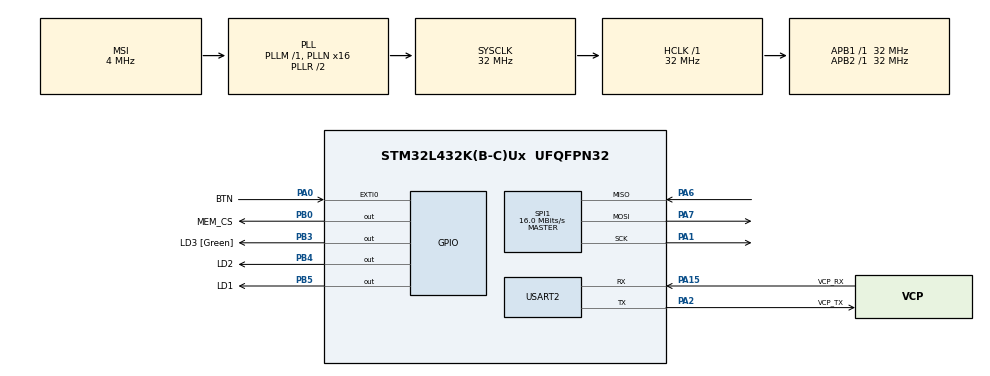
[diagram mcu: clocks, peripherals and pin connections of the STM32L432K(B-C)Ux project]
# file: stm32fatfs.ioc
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FATFS._MAX_SS=4096
FATFS._MIN_SS=4096
Mcu.Family=STM32L4
Mcu.Name=STM32L432K(B-C)Ux
Mcu.Package=UFQFPN32
NVIC.EXTI0_IRQn=true\:0\:0\:false\:false\:true\:true
NVIC.PriorityGroup=NVIC_PRIORITYGROUP_4
PA0.GPIO_Label=BTN
PA0.GPIO_ModeDefaultEXTI=GPIO_MODE_IT_FALLING
PA0.GPIO_PuPd=GPIO_PULLUP
PA0.Signal=GPXTI0
PA1.Mode=Full_Duplex_Master
PA1.Signal=SPI1_SCK
PA13\ (JTMS-SWDIO).GPIO_Label=SWDIO
PA13\ (JTMS-SWDIO).Mode=Serial_Wire
PA13\ (JTMS-SWDIO).Signal=SYS_JTMS-SWDIO
PA14\ (JTCK-SWCLK).GPIO_Label=SWCLK
PA14\ (JTCK-SWCLK).Mode=Serial_Wire
PA14\ (JTCK-SWCLK).Signal=SYS_JTCK-SWCLK
PA15\ (JTDI).GPIO_Label=VCP_RX
PA15\ (JTDI).Mode=Asynchronous
PA15\ (JTDI).Signal=USART2_RX
PA2.GPIO_Label=VCP_TX
PA2.Mode=Asynchronous
PA2.Signal=USART2_TX
PA6.Mode=Full_Duplex_Master
PA6.Signal=SPI1_MISO
PA7.Mode=Full_Duplex_Master
PA7.Signal=SPI1_MOSI
PB0.GPIO_Label=MEM_CS
PB0.GPIO_Speed=GPIO_SPEED_FREQ_HIGH
PB0.PinState=GPIO_PIN_SET
PB0.Signal=GPIO_Output
PB3\ (JTDO-TRACESWO).GPIO_Label=LD3 [Green]
PB3\ (JTDO-TRACESWO).Signal=GPIO_Output
PB4\ (NJTRST).GPIO_Label=LD2
PB4\ (NJTRST).Signal=GPIO_Output
PB5.GPIO_Label=LD1
PB5.Signal=GPIO_Output
PC14-OSC32_IN\ (PC14).Mode=LSE-External-Oscillator
PC14-OSC32_IN\ (PC14).Signal=RCC_OSC32_IN
PC15-OSC32_OUT\ (PC15).Mode=LSE-External-Oscillator
PC15-OSC32_OUT\ (PC15).Signal=RCC_OSC32_OUT
ProjectManager.HeapSize=0x200
ProjectManager.StackSize=0x400
ProjectManager.TargetToolchain=Makefile
RCC.ADCFreq_Value=48000000
RCC.AHBFreq_Value=32000000
RCC.APB1Freq_Value=32000000
RCC.APB1TimFreq_Value=32000000
RCC.APB2Freq_Value=32000000
RCC.APB2TimFreq_Value=32000000
RCC.CK48CLockSelection=RCC_USBCLKSOURCE_HSI48
RCC.CortexFreq_Value=32000000
RCC.HCLKFreq_Value=32000000
RCC.HSE_VALUE=8000000
RCC.HSI16_VALUE=16000000
RCC.HSI48_VALUE=48000000
RCC.HSI_VALUE=16000000
RCC.MSI_VALUE=4000000
RCC.PLLMUL=RCC_PLLMUL_4
RCC.PLLN=16
RCC.PLLSAI1N=24
RCC.SYSCLKFreq_VALUE=32000000
RCC.SYSCLKSource=RCC_SYSCLKSOURCE_PLLCLK
RCC.USBFreq_Value=48000000
RCC.VCOOutputFreq_Value=64000000
SPI1.BaudRatePrescaler=SPI_BAUDRATEPRESCALER_2
SPI1.CalculateBaudRate=16.0 MBits/s
SPI1.DataSize=SPI_DATASIZE_8BIT
SPI1.Direction=SPI_DIRECTION_2LINES
SPI1.Mode=SPI_MODE_MASTER
SPI1.NSSPMode=SPI_NSS_PULSE_DISABLE
SPI1.VirtualType=VM_MASTER
TIM6.Period=1000
TIM6.TIM_MasterOutputTrigger=TIM_TRGO_UPDATE
USART2.VirtualMode-Asynchronous=VM_ASYNC
VP_FATFS_VS_Generic.Mode=User_defined
VP_TIM6_VS_ClockSourceINT.Mode=Enable_Timer
board=NUCLEO-L432KC

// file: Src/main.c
/**
  ******************************************************************************
  * @file           : main.c
  * @brief          : Main program body
  ******************************************************************************
  * This notice applies to any and all portions of this file
  * that are not between comment pairs USER CODE BEGIN and
  * USER CODE END. Other portions of this file, whether
  * inserted by the user or by software development tools
  * are owned by their respective copyright owners.
  *
  * Copyright (c) 2018 STMicroelectronics International N.V.
  * All rights reserved.
  *
  * Redistribution and use in source and binary forms, with or without
  * modification, are permitted, provided that the following conditions are met:
  *
  * 1. Redistribution of source code must retain the above copyright notice,
  *    this list of conditions and the following disclaimer.
  * 2. Redistributions in binary form must reproduce the above copyright notice,
  *    this list of conditions and the following disclaimer in the documentation
  *    and/or other materials provided with the distribution.
  * 3. Neither the name of STMicroelectronics nor the names of other
  *    contributors to this software may be used to endorse or promote products
  *    derived from this software without specific written permission.
  * 4. This software, including modifications and/or derivative works of this
  *    software, must execute solely and exclusively on microcontroller or
  *    microprocessor devices manufactured by or for STMicroelectronics.
  * 5. Redistribution and use of this software other than as permitted under
  *    this license is void and will automatically terminate your rights under
  *    this license.
  *
  * THIS SOFTWARE IS PROVIDED BY STMICROELECTRONICS AND CONTRIBUTORS "AS IS"
  * AND ANY EXPRESS, IMPLIED OR STATUTORY WARRANTIES, INCLUDING, BUT NOT
  * LIMITED TO, THE IMPLIED WARRANTIES OF MERCHANTABILITY, FITNESS FOR A
  * PARTICULAR PURPOSE AND NON-INFRINGEMENT OF THIRD PARTY INTELLECTUAL PROPERTY
  * RIGHTS ARE DISCLAIMED TO THE FULLEST EXTENT PERMITTED BY LAW. IN NO EVENT
  * SHALL STMICROELECTRONICS OR CONTRIBUTORS BE LIABLE FOR ANY DIRECT, INDIRECT,
  * INCIDENTAL, SPECIAL, EXEMPLARY, OR CONSEQUENTIAL DAMAGES (INCLUDING, BUT NOT
  * LIMITED TO, PROCUREMENT OF SUBSTITUTE GOODS OR SERVICES; LOSS OF USE, DATA,
  * OR PROFITS; OR BUSINESS INTERRUPTION) HOWEVER CAUSED AND ON ANY THEORY OF
  * LIABILITY, WHETHER IN CONTRACT, STRICT LIABILITY, OR TORT (INCLUDING
  * NEGLIGENCE OR OTHERWISE) ARISING IN ANY WAY OUT OF THE USE OF THIS SOFTWARE,
  * EVEN IF ADVISED OF THE POSSIBILITY OF SUCH DAMAGE.
  *
  ******************************************************************************
  */
#include "main.h"
#include "stm32l4xx_hal.h"
#include "fatfs.h"

/* USER CODE BEGIN Includes */
#include "board.h"
#include "SFlash.h"
/* USER CODE END Includes */

SPI_HandleTypeDef hspi1;

TIM_HandleTypeDef htim6;

UART_HandleTypeDef huart2;

/* USER CODE BEGIN PV */
/* Private variables ---------------------------------------------------------*/
#define BTN_DEB_DELAY		(300)

bool btn_int_flag = false;
int btn_deb_counter = 0;
/* USER CODE END PV */

void SystemClock_Config(void);
static void MX_GPIO_Init(void);
static void MX_USART2_UART_Init(void);
static void MX_SPI1_Init(void);
static void MX_TIM6_Init(void);

/* USER CODE BEGIN PFP */
/* Private function prototypes -----------------------------------------------*/
void System_Init(void);
void Event_Handler(void);
/* USER CODE END PFP */

int main(void)
{

  /* MCU Configuration----------------------------------------------------------*/

  /* Reset of all peripherals, Initializes the Flash interface and the Systick. */
  HAL_Init();

  /* Configure the system clock */
  SystemClock_Config();

  /* Initialize all configured peripherals */
  MX_GPIO_Init();
  MX_USART2_UART_Init();
  MX_SPI1_Init();
  MX_TIM6_Init();
  MX_FATFS_Init();
  /* USER CODE BEGIN 2 */
	System_Init();
  /* USER CODE END 2 */

  /* Infinite loop */
	while (1)
	{

  /* USER CODE BEGIN 3 */
		Event_Handler();
	}
  /* USER CODE END 3 */

}

void SystemClock_Config(void)
{

  RCC_OscInitTypeDef RCC_OscInitStruct;
  RCC_ClkInitTypeDef RCC_ClkInitStruct;
  RCC_PeriphCLKInitTypeDef PeriphClkInit;

    /**Configure LSE Drive Capability
    */
  HAL_PWR_EnableBkUpAccess();

  __HAL_RCC_LSEDRIVE_CONFIG(RCC_LSEDRIVE_LOW);

    /**Initializes the CPU, AHB and APB busses clocks
    */
  RCC_OscInitStruct.OscillatorType = RCC_OSCILLATORTYPE_LSE|RCC_OSCILLATORTYPE_MSI;
  RCC_OscInitStruct.LSEState = RCC_LSE_ON;
  RCC_OscInitStruct.MSIState = RCC_MSI_ON;
  RCC_OscInitStruct.MSICalibrationValue = 0;
  RCC_OscInitStruct.MSIClockRange = RCC_MSIRANGE_6;
  RCC_OscInitStruct.PLL.PLLState = RCC_PLL_ON;
  RCC_OscInitStruct.PLL.PLLSource = RCC_PLLSOURCE_MSI;
  RCC_OscInitStruct.PLL.PLLM = 1;
  RCC_OscInitStruct.PLL.PLLN = 16;
  RCC_OscInitStruct.PLL.PLLP = RCC_PLLP_DIV7;
  RCC_OscInitStruct.PLL.PLLQ = RCC_PLLQ_DIV2;
  RCC_OscInitStruct.PLL.PLLR = RCC_PLLR_DIV2;
  if (HAL_RCC_OscConfig(&RCC_OscInitStruct) != HAL_OK)
  {
    _Error_Handler(__FILE__, __LINE__);
  }

    /**Initializes the CPU, AHB and APB busses clocks
    */
  RCC_ClkInitStruct.ClockType = RCC_CLOCKTYPE_HCLK|RCC_CLOCKTYPE_SYSCLK
                              |RCC_CLOCKTYPE_PCLK1|RCC_CLOCKTYPE_PCLK2;
  RCC_ClkInitStruct.SYSCLKSource = RCC_SYSCLKSOURCE_PLLCLK;
  RCC_ClkInitStruct.AHBCLKDivider = RCC_SYSCLK_DIV1;
  RCC_ClkInitStruct.APB1CLKDivider = RCC_HCLK_DIV1;
  RCC_ClkInitStruct.APB2CLKDivider = RCC_HCLK_DIV1;

  if (HAL_RCC_ClockConfig(&RCC_ClkInitStruct, FLASH_LATENCY_1) != HAL_OK)
  {
    _Error_Handler(__FILE__, __LINE__);
  }

  PeriphClkInit.PeriphClockSelection = RCC_PERIPHCLK_USART2;
  PeriphClkInit.Usart2ClockSelection = RCC_USART2CLKSOURCE_PCLK1;
  if (HAL_RCCEx_PeriphCLKConfig(&PeriphClkInit) != HAL_OK)
  {
    _Error_Handler(__FILE__, __LINE__);
  }

    /**Configure the main internal regulator output voltage
    */
  if (HAL_PWREx_ControlVoltageScaling(PWR_REGULATOR_VOLTAGE_SCALE1) != HAL_OK)
  {
    _Error_Handler(__FILE__, __LINE__);
  }

    /**Configure the Systick interrupt time
    */
  HAL_SYSTICK_Config(HAL_RCC_GetHCLKFreq()/1000);

    /**Configure the Systick
    */
  HAL_SYSTICK_CLKSourceConfig(SYSTICK_CLKSOURCE_HCLK);

    /**Enable MSI Auto calibration
    */
  HAL_RCCEx_EnableMSIPLLMode();

  /* SysTick_IRQn interrupt configuration */
  HAL_NVIC_SetPriority(SysTick_IRQn, 0, 0);
}

/* SPI1 init function */
static void MX_SPI1_Init(void)
{

  /* SPI1 parameter configuration*/
  hspi1.Instance = SPI1;
  hspi1.Init.Mode = SPI_MODE_MASTER;
  hspi1.Init.Direction = SPI_DIRECTION_2LINES;
  hspi1.Init.DataSize = SPI_DATASIZE_8BIT;
  hspi1.Init.CLKPolarity = SPI_POLARITY_LOW;
  hspi1.Init.CLKPhase = SPI_PHASE_1EDGE;
  hspi1.Init.NSS = SPI_NSS_SOFT;
  hspi1.Init.BaudRatePrescaler = SPI_BAUDRATEPRESCALER_2;
  hspi1.Init.FirstBit = SPI_FIRSTBIT_MSB;
  hspi1.Init.TIMode = SPI_TIMODE_DISABLE;
  hspi1.Init.CRCCalculation = SPI_CRCCALCULATION_DISABLE;
  hspi1.Init.CRCPolynomial = 7;
  hspi1.Init.CRCLength = SPI_CRC_LENGTH_DATASIZE;
  hspi1.Init.NSSPMode = SPI_NSS_PULSE_DISABLE;
  if (HAL_SPI_Init(&hspi1) != HAL_OK)
  {
    _Error_Handler(__FILE__, __LINE__);
  }

}

/* TIM6 init function */
static void MX_TIM6_Init(void)
{

  TIM_MasterConfigTypeDef sMasterConfig;

  htim6.Instance = TIM6;
  htim6.Init.Prescaler = 0;
  htim6.Init.CounterMode = TIM_COUNTERMODE_UP;
  htim6.Init.Period = 1000;
  htim6.Init.AutoReloadPreload = TIM_AUTORELOAD_PRELOAD_DISABLE;
  if (HAL_TIM_Base_Init(&htim6) != HAL_OK)
  {
    _Error_Handler(__FILE__, __LINE__);
  }

  sMasterConfig.MasterOutputTrigger = TIM_TRGO_UPDATE;
  sMasterConfig.MasterSlaveMode = TIM_MASTERSLAVEMODE_DISABLE;
  if (HAL_TIMEx_MasterConfigSynchronization(&htim6, &sMasterConfig) != HAL_OK)
  {
    _Error_Handler(__FILE__, __LINE__);
  }

}

/* USART2 init function */
static void MX_USART2_UART_Init(void)
{

  huart2.Instance = USART2;
  huart2.Init.BaudRate = 115200;
  huart2.Init.WordLength = UART_WORDLENGTH_8B;
  huart2.Init.StopBits = UART_STOPBITS_1;
  huart2.Init.Parity = UART_PARITY_NONE;
  huart2.Init.Mode = UART_MODE_TX_RX;
  huart2.Init.HwFlowCtl = UART_HWCONTROL_NONE;
  huart2.Init.OverSampling = UART_OVERSAMPLING_16;
  huart2.Init.OneBitSampling = UART_ONE_BIT_SAMPLE_DISABLE;
  huart2.AdvancedInit.AdvFeatureInit = UART_ADVFEATURE_NO_INIT;
  if (HAL_UART_Init(&huart2) != HAL_OK)
  {
    _Error_Handler(__FILE__, __LINE__);
  }

}

/** Configure pins as
        * Analog
        * Input
        * Output
        * EVENT_OUT
        * EXTI
*/
static void MX_GPIO_Init(void)
{

  GPIO_InitTypeDef GPIO_InitStruct;

  /* GPIO Ports Clock Enable */
  __HAL_RCC_GPIOC_CLK_ENABLE();
  __HAL_RCC_GPIOA_CLK_ENABLE();
  __HAL_RCC_GPIOB_CLK_ENABLE();

  /*Configure GPIO pin Output Level */
  HAL_GPIO_WritePin(MEM_CS_GPIO_Port, MEM_CS_Pin, GPIO_PIN_SET);

  /*Configure GPIO pin Output Level */
  HAL_GPIO_WritePin(GPIOB, LD3_Pin|LD2_Pin|LD1_Pin, GPIO_PIN_RESET);

  /*Configure GPIO pin : BTN_Pin */
  GPIO_InitStruct.Pin = BTN_Pin;
  GPIO_InitStruct.Mode = GPIO_MODE_IT_FALLING;
  GPIO_InitStruct.Pull = GPIO_PULLUP;
  HAL_GPIO_Init(BTN_GPIO_Port, &GPIO_InitStruct);

  /*Configure GPIO pin : MEM_CS_Pin */
  GPIO_InitStruct.Pin = MEM_CS_Pin;
  GPIO_InitStruct.Mode = GPIO_MODE_OUTPUT_PP;
  GPIO_InitStruct.Pull = GPIO_NOPULL;
  GPIO_InitStruct.Speed = GPIO_SPEED_FREQ_HIGH;
  HAL_GPIO_Init(MEM_CS_GPIO_Port, &GPIO_InitStruct);

  /*Configure GPIO pins : LD3_Pin LD2_Pin LD1_Pin */
  GPIO_InitStruct.Pin = LD3_Pin|LD2_Pin|LD1_Pin;
  GPIO_InitStruct.Mode = GPIO_MODE_OUTPUT_PP;
  GPIO_InitStruct.Pull = GPIO_NOPULL;
  GPIO_InitStruct.Speed = GPIO_SPEED_FREQ_LOW;
  HAL_GPIO_Init(GPIOB, &GPIO_InitStruct);

  /* EXTI interrupt init*/
  HAL_NVIC_SetPriority(EXTI0_IRQn, 0, 0);
  HAL_NVIC_EnableIRQ(EXTI0_IRQn);

}

/* USER CODE BEGIN 4 */
void HAL_SYSTICK_Callback(void)
{
	static unsigned count = 0;

	if((++count) % 1000 == 0)
	{
		LD3_TOGGLE;
	}

	if(btn_deb_counter)
	{
		btn_deb_counter--;
	}
}

void HAL_GPIO_EXTI_Callback(uint16_t GPIO_Pin)
{
	if((GPIO_Pin == BTN_Pin) && (btn_deb_counter == 0))
	{
		btn_int_flag = true;
	}
}

void System_Init(void)
{
	DbgPrintf("\r\n\r\nSystem Init");

	// erash flash device
	SFlash_Init(false);

#if 0
	// create a file system
	if(FATFS_CreateFileSystem())
	{
		DbgPrintf("\r\nFile system created");
	}
	else
	{
		DbgPrintf("\r\nFailed to create a file system");
	}
#endif
}

void Event_Handler(void)
{
	if(btn_int_flag)
	{
		btn_int_flag = false;
		btn_deb_counter = BTN_DEB_DELAY;
		FATFS_UnitTest();
	}
}

/* USER CODE END 4 */

void _Error_Handler(char *file, int line)
{
	while(1)
	{
	}
}

/************************ (C) COPYRIGHT STMicroelectronics *****END OF FILE****/
